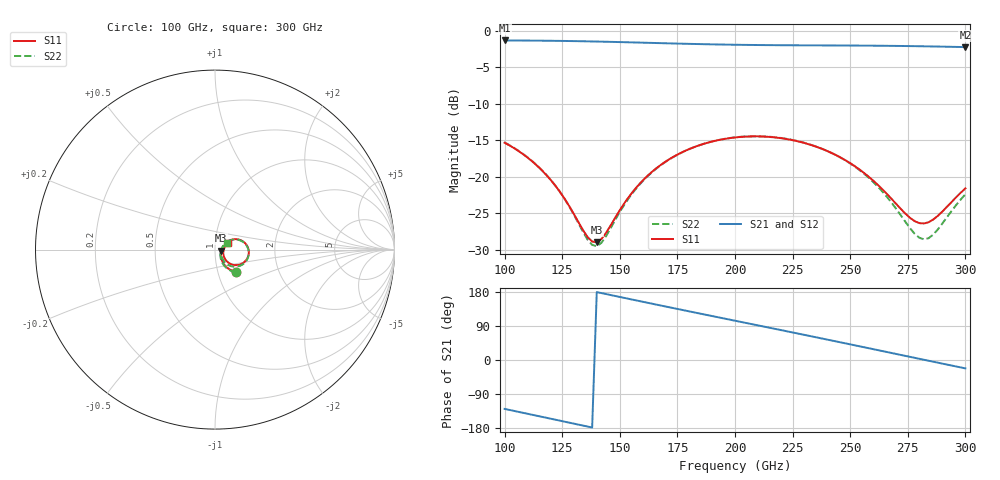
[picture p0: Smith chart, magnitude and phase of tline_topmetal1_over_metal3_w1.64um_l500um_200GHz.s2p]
#  GHZ S DB R 50
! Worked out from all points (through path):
!   101 points, 100 GHz to 300 GHz, reference 50 ohm
!   highest |S21| = -1.29 dB at 100 GHz (marker M1); lowest = -2.2 dB at 300 GHz (marker M2)
!   group delay of S21, straight-line fit = 3.5 ps
!   lowest |S11| = -29.0 dB at 140 GHz (marker M3), VSWR 1.07, Z = 53.6 - j0.57 ohm
!   |S11| at or under -10 dB: start of sweep to end of sweep
!   |S22| runs from -29.5 to -14.4 dB; largest |S21 - S12| = 9.9e-14
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100  -15.32 -45.8  -1.29 -129.1  -1.29 -129.1  -15.29 -47.0
110  -17.37 -53.8  -1.31 -142.0  -1.31 -142.0  -17.34 -55.4
118  -19.71 -58.1  -1.33 -152.3  -1.33 -152.3  -19.68 -60.1
126  -22.99 -57.3  -1.36 -162.7  -1.36 -162.7  -23.01 -60.0
134  -27.31 -41.2  -1.40 -173.0  -1.40 -173.0  -27.55 -44.8
138  -28.89 -21.0  -1.43 -178.2  -1.43 -178.2  -29.35 -23.9
140  -28.99 -8.6  -1.44 179.2  -1.44 179.2  -29.52 -10.7
144  -27.72 12.8  -1.47 174.1  -1.47 174.1  -28.17 12.3
156  -21.91 32.5  -1.56 158.7  -1.56 158.7  -22.04 32.3
168  -18.32 28.5  -1.66 143.5  -1.66 143.5  -18.36 27.8
184  -15.73 15.8  -1.78 123.5  -1.78 123.5  -15.73 14.5
200  -14.61 1.0  -1.88 103.7  -1.88 103.7  -14.59 -0.8
216  -14.56 -14.1  -1.93 83.9  -1.93 83.9  -14.53 -16.7
234  -15.73 -30.3  -1.96 61.4  -1.96 61.4  -15.71 -33.9
252  -18.55 -42.6  -1.99 38.8  -1.99 38.8  -18.60 -48.3
260  -20.53 -44.7  -2.01 28.6  -2.01 28.6  -20.71 -51.9
268  -23.05 -41.2  -2.03 18.4  -2.03 18.4  -23.57 -50.5
276  -25.65 -26.6  -2.06 8.2  -2.06 8.2  -27.07 -36.5
280  -26.36 -13.8  -2.08 3.2  -2.08 3.2  -28.37 -21.0
282  -26.41 -6.8  -2.09 0.6  -2.09 0.6  -28.58 -11.5
286  -25.88 6.4  -2.11 -4.5  -2.11 -4.5  -27.95 6.7
300  -21.58 26.3  -2.20 -22.2  -2.20 -22.2  -22.40 30.2
